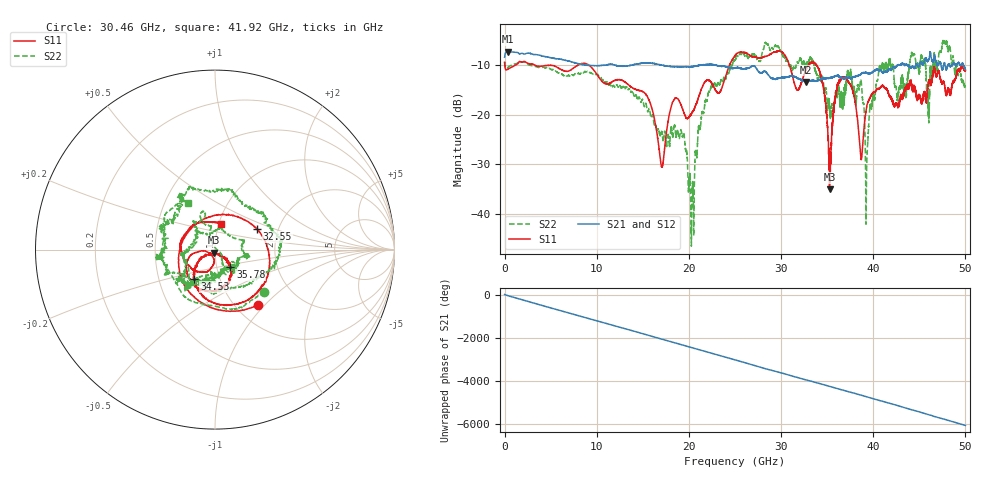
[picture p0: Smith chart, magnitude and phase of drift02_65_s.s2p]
!Created with skrf (http://scikit-rf.org).
# Hz S RI R 50.0
!freq ReS11 ImS11 ReS21 ImS21 ReS12 ImS12 ReS22 ImS22
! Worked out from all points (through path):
!   10001 points, 300 kHz to 50 GHz, reference 50 ohm
!   highest |S21| = -7.32 dB at 325.3 MHz (marker M1); lowest = -13.4 dB at 32.73 GHz (marker M2)
!   group delay of S21, straight-line fit = 335 ps
!   lowest |S11| = -35.0 dB at 35.26 GHz (marker M3), VSWR 1.04, Z = 49.4 - j1.66 ohm
!   |S11| at or under -10 dB: 3.24 GHz to 8.003 GHz (4.762 GHz wide, 84.7 % of centre); 9.107 GHz to 24.42 GHz (15.31 GHz wide, 91.3 % of centre); 33.83 GHz to end of sweep (the widest 3 of 8)
!   |S22| runs from -46.4 to -5.1 dB; largest |S21 - S12| = 0.013
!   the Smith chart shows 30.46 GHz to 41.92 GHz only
!   S11 on the Smith chart (normalised r, x): 30.46 GHz: 1.26, -0.91; 32.55 GHz: 1.55, +0.39; 34.53 GHz: 0.76, -0.26; 35.78 GHz: 1.16, -0.23; 41.92 GHz: 1.02, +0.29
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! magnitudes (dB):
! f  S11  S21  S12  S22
! 300 kHz  -9.5  -8.4  -8.4  -9.4
! 325.3 MHz  -10.9  -7.3  -7.3  -10.6
! 8.335 GHz  -9.7  -9.9  -9.9  -11.6
! 16.67 GHz  -25.6  -9.9  -9.9  -22.9
! 19.31 GHz  -18.8  -10.4  -10.4  -24.5
! 20.37 GHz  -19.5  -10.3  -10.3  -35.2
! 21.94 GHz  -13.1  -9.9  -10.0  -17.2
! 25 GHz  -8.2  -10.6  -10.6  -9.0
! 30.46 GHz  -8.2  -12.5  -12.5  -8.8
! 32.55 GHz  -11.7  -13.1  -13.3  -10.1
! 32.73 GHz  -10.9  -13.4  -13.6  -10.0
! 33.34 GHz  -9.6  -13.1  -13.2  -9.0
! 34.53 GHz  -14.0  -12.8  -12.8  -12.5
! 35.26 GHz  -35.0  -12.6  -12.6  -18.4
! 35.78 GHz  -17.8  -12.4  -12.4  -17.6
! 37.25 GHz  -13.2  -12.6  -12.6  -11.6
! 38.54 GHz  -25.9  -12.1  -12.0  -14.1
! 39.32 GHz  -18.1  -11.6  -11.6  -28.6
! 41.67 GHz  -15.9  -11.0  -11.1  -9.6
! 41.92 GHz  -16.8  -10.9  -10.9  -10.4
! 47.77 GHz  -14.4  -9.8  -9.8  -5.4
! 50 GHz  -11.1  -10.9  -10.8  -14.0
